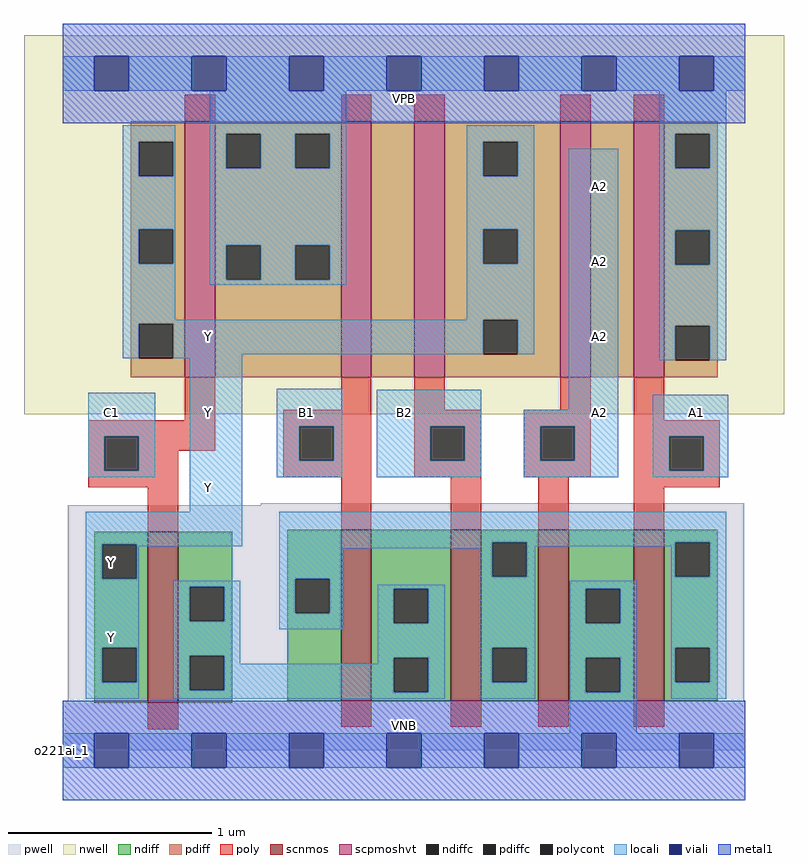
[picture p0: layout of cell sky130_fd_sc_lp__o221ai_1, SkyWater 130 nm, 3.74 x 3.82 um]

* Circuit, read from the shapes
.subckt sky130_fd_sc_lp__o221ai_1 A1 A2 B1 B2 C1 VGND VNB VPB VPWR Y
XM1 n1 C1 Y VNB sky130_fd_pr__nfet_01v8 w=0.84 l=0.15
XM2 n1 B1 n2 VNB sky130_fd_pr__nfet_01v8 w=0.84 l=0.15
XM3 n2 B2 n1 VNB sky130_fd_pr__nfet_01v8 w=0.84 l=0.15
XM4 VGND A2 n2 VNB sky130_fd_pr__nfet_01v8 w=0.84 l=0.15
XM5 n2 A1 VGND VNB sky130_fd_pr__nfet_01v8 w=0.84 l=0.15
XM6 VPWR C1 Y VPB sky130_fd_pr__pfet_01v8_hvt w=1.26 l=0.15
XM7 n3 B1 VPWR VPB sky130_fd_pr__pfet_01v8_hvt w=1.26 l=0.15
XM8 Y B2 n3 VPB sky130_fd_pr__pfet_01v8_hvt w=1.26 l=0.15
XM9 n4 A2 Y VPB sky130_fd_pr__pfet_01v8_hvt w=1.26 l=0.15
XM10 VPWR A1 n4 VPB sky130_fd_pr__pfet_01v8_hvt w=1.26 l=0.15
.ends

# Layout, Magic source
magic
tech sky130A
magscale 1 2
<< nwell >>
rect -38 331 710 704
<< pwell >>
rect 195 241 671 243
rect 5 49 671 241
rect 0 0 672 49
<< scnmos >>
rect 84 47 114 215
rect 274 49 304 217
rect 382 49 412 217
rect 468 49 498 217
rect 562 49 592 217
<< scpmoshvt >>
rect 120 367 150 619
rect 274 367 304 619
rect 346 367 376 619
rect 490 367 520 619
rect 562 367 592 619
<< ndiff >>
rect 31 203 84 215
rect 31 169 39 203
rect 73 169 84 203
rect 31 101 84 169
rect 31 67 39 101
rect 73 67 84 101
rect 31 47 84 67
rect 114 161 167 215
rect 114 127 125 161
rect 159 127 167 161
rect 114 93 167 127
rect 114 59 125 93
rect 159 59 167 93
rect 114 47 167 59
rect 221 169 274 217
rect 221 135 229 169
rect 263 135 274 169
rect 221 49 274 135
rect 304 159 382 217
rect 304 125 326 159
rect 360 125 382 159
rect 304 91 382 125
rect 304 57 326 91
rect 360 57 382 91
rect 304 49 382 57
rect 412 205 468 217
rect 412 171 423 205
rect 457 171 468 205
rect 412 101 468 171
rect 412 67 423 101
rect 457 67 468 101
rect 412 49 468 67
rect 498 159 562 217
rect 498 125 515 159
rect 549 125 562 159
rect 498 91 562 125
rect 498 57 515 91
rect 549 57 562 91
rect 498 49 562 57
rect 592 205 645 217
rect 592 171 603 205
rect 637 171 645 205
rect 592 101 645 171
rect 592 67 603 101
rect 637 67 645 101
rect 592 49 645 67
<< pdiff >>
rect 67 599 120 619
rect 67 565 75 599
rect 109 565 120 599
rect 67 513 120 565
rect 67 479 75 513
rect 109 479 120 513
rect 67 420 120 479
rect 67 386 75 420
rect 109 386 120 420
rect 67 367 120 386
rect 150 607 274 619
rect 150 573 161 607
rect 195 573 229 607
rect 263 573 274 607
rect 150 497 274 573
rect 150 463 161 497
rect 195 463 229 497
rect 263 463 274 497
rect 150 367 274 463
rect 304 367 346 619
rect 376 599 490 619
rect 376 565 414 599
rect 448 565 490 599
rect 376 513 490 565
rect 376 479 414 513
rect 448 479 490 513
rect 376 424 490 479
rect 376 390 414 424
rect 448 390 490 424
rect 376 367 490 390
rect 520 367 562 619
rect 592 607 645 619
rect 592 573 603 607
rect 637 573 645 607
rect 592 512 645 573
rect 592 478 603 512
rect 637 478 645 512
rect 592 418 645 478
rect 592 384 603 418
rect 637 384 645 418
rect 592 367 645 384
<< ndiffc >>
rect 39 169 73 203
rect 39 67 73 101
rect 125 127 159 161
rect 125 59 159 93
rect 229 135 263 169
rect 326 125 360 159
rect 326 57 360 91
rect 423 171 457 205
rect 423 67 457 101
rect 515 125 549 159
rect 515 57 549 91
rect 603 171 637 205
rect 603 67 637 101
<< pdiffc >>
rect 75 565 109 599
rect 75 479 109 513
rect 75 386 109 420
rect 161 573 195 607
rect 229 573 263 607
rect 161 463 195 497
rect 229 463 263 497
rect 414 565 448 599
rect 414 479 448 513
rect 414 390 448 424
rect 603 573 637 607
rect 603 478 637 512
rect 603 384 637 418
<< poly >>
rect 120 619 150 645
rect 274 619 304 645
rect 346 619 376 645
rect 490 619 520 645
rect 562 619 592 645
rect 120 325 150 367
rect 274 335 304 367
rect 25 309 150 325
rect 25 275 41 309
rect 75 295 150 309
rect 217 319 304 335
rect 75 275 114 295
rect 25 259 114 275
rect 217 285 233 319
rect 267 285 304 319
rect 217 269 304 285
rect 346 335 376 367
rect 490 335 520 367
rect 346 319 412 335
rect 346 285 362 319
rect 396 285 412 319
rect 346 269 412 285
rect 454 319 520 335
rect 454 285 470 319
rect 504 285 520 319
rect 454 269 520 285
rect 562 325 592 367
rect 562 309 647 325
rect 562 275 597 309
rect 631 275 647 309
rect 84 215 114 259
rect 274 217 304 269
rect 382 217 412 269
rect 468 217 498 269
rect 562 259 647 275
rect 562 217 592 259
rect 84 21 114 47
rect 274 23 304 49
rect 382 23 412 49
rect 468 23 498 49
rect 562 23 592 49
<< polycont >>
rect 41 275 75 309
rect 233 285 267 319
rect 362 285 396 319
rect 470 285 504 319
rect 597 275 631 309
<< locali >>
rect 0 649 31 683
rect 65 649 127 683
rect 161 649 223 683
rect 257 649 319 683
rect 353 649 415 683
rect 449 649 511 683
rect 545 649 607 683
rect 641 649 672 683
rect 59 599 111 615
rect 59 565 75 599
rect 109 565 111 599
rect 59 513 111 565
rect 59 479 75 513
rect 109 479 111 513
rect 59 424 111 479
rect 145 607 279 649
rect 145 573 161 607
rect 195 573 229 607
rect 263 573 279 607
rect 145 497 279 573
rect 145 463 161 497
rect 195 463 229 497
rect 263 463 279 497
rect 145 458 279 463
rect 398 599 464 615
rect 398 565 414 599
rect 448 565 464 599
rect 587 607 653 649
rect 398 513 464 565
rect 398 479 414 513
rect 448 479 464 513
rect 398 424 464 479
rect 59 420 414 424
rect 59 386 75 420
rect 109 390 414 420
rect 448 390 464 424
rect 109 386 177 390
rect 25 309 91 352
rect 25 275 41 309
rect 75 275 91 309
rect 25 269 91 275
rect 125 235 177 386
rect 211 319 275 356
rect 211 285 233 319
rect 267 285 275 319
rect 211 269 275 285
rect 309 319 412 355
rect 498 335 547 592
rect 587 573 603 607
rect 637 573 653 607
rect 587 512 653 573
rect 587 478 603 512
rect 637 478 653 512
rect 587 418 653 478
rect 587 384 603 418
rect 637 384 653 418
rect 309 285 362 319
rect 396 285 412 319
rect 309 269 412 285
rect 454 319 547 335
rect 454 285 470 319
rect 504 285 547 319
rect 454 269 547 285
rect 581 309 655 350
rect 581 275 597 309
rect 631 275 655 309
rect 581 269 655 275
rect 23 203 177 235
rect 23 169 39 203
rect 73 201 177 203
rect 213 205 653 235
rect 73 169 75 201
rect 23 101 75 169
rect 213 199 423 205
rect 213 169 276 199
rect 23 67 39 101
rect 73 67 75 101
rect 23 51 75 67
rect 109 161 175 167
rect 109 127 125 161
rect 159 127 175 161
rect 109 93 175 127
rect 213 135 229 169
rect 263 135 276 169
rect 410 171 423 199
rect 457 201 603 205
rect 457 171 465 201
rect 213 119 276 135
rect 310 159 376 163
rect 310 125 326 159
rect 360 125 376 159
rect 109 59 125 93
rect 159 85 175 93
rect 310 91 376 125
rect 310 85 326 91
rect 159 59 326 85
rect 109 57 326 59
rect 360 57 376 91
rect 109 51 376 57
rect 410 101 465 171
rect 599 171 603 201
rect 637 171 653 205
rect 410 67 423 101
rect 457 67 465 101
rect 410 51 465 67
rect 499 159 565 167
rect 499 125 515 159
rect 549 125 565 159
rect 499 91 565 125
rect 499 57 515 91
rect 549 57 565 91
rect 499 17 565 57
rect 599 101 653 171
rect 599 67 603 101
rect 637 67 653 101
rect 599 51 653 67
rect 0 -17 31 17
rect 65 -17 127 17
rect 161 -17 223 17
rect 257 -17 319 17
rect 353 -17 415 17
rect 449 -17 511 17
rect 545 -17 607 17
rect 641 -17 672 17
<< viali >>
rect 31 649 65 683
rect 127 649 161 683
rect 223 649 257 683
rect 319 649 353 683
rect 415 649 449 683
rect 511 649 545 683
rect 607 649 641 683
rect 31 -17 65 17
rect 127 -17 161 17
rect 223 -17 257 17
rect 319 -17 353 17
rect 415 -17 449 17
rect 511 -17 545 17
rect 607 -17 641 17
<< metal1 >>
rect 0 683 672 715
rect 0 649 31 683
rect 65 649 127 683
rect 161 649 223 683
rect 257 649 319 683
rect 353 649 415 683
rect 449 649 511 683
rect 545 649 607 683
rect 641 649 672 683
rect 0 617 672 649
rect 0 17 672 49
rect 0 -17 31 17
rect 65 -17 127 17
rect 161 -17 223 17
rect 257 -17 319 17
rect 353 -17 415 17
rect 449 -17 511 17
rect 545 -17 607 17
rect 641 -17 672 17
rect 0 -49 672 -17
<< labels >>
flabel pwell s 0 0 672 49 0 FreeSans 200 0 0 0 VNB
port 7 nsew ground bidirectional
flabel nwell s 0 617 672 666 0 FreeSans 200 0 0 0 VPB
port 8 nsew power bidirectional
rlabel comment s 0 0 0 0 4 o221ai_1
flabel metal1 s 0 617 672 666 0 FreeSans 340 0 0 0 VPWR
port 9 nsew power bidirectional
flabel metal1 s 0 0 672 49 0 FreeSans 340 0 0 0 VGND
port 6 nsew ground bidirectional
flabel locali s 511 316 545 350 0 FreeSans 340 0 0 0 A2
port 2 nsew signal input
flabel locali s 511 390 545 424 0 FreeSans 340 0 0 0 A2
port 2 nsew signal input
flabel locali s 511 464 545 498 0 FreeSans 340 0 0 0 A2
port 2 nsew signal input
flabel locali s 511 538 545 572 0 FreeSans 340 0 0 0 A2
port 2 nsew signal input
flabel locali s 319 316 353 350 0 FreeSans 340 0 0 0 B2
port 4 nsew signal input
flabel locali s 31 316 65 350 0 FreeSans 340 0 0 0 C1
port 5 nsew signal input
flabel locali s 607 316 641 350 0 FreeSans 340 0 0 0 A1
port 1 nsew signal input
flabel locali s 127 242 161 276 0 FreeSans 340 0 0 0 Y
port 10 nsew signal output
flabel locali s 127 316 161 350 0 FreeSans 340 0 0 0 Y
port 10 nsew signal output
flabel locali s 127 390 161 424 0 FreeSans 340 0 0 0 Y
port 10 nsew signal output
flabel locali s 223 316 257 350 0 FreeSans 340 0 0 0 B1
port 3 nsew signal input
flabel locali s 31 94 65 128 0 FreeSans 340 0 0 0 Y
port 10 nsew signal output
flabel locali s 31 168 65 202 0 FreeSans 340 0 0 0 Y
port 10 nsew signal output
<< properties >>
string LEFsite unit
string LEFclass CORE
string FIXED_BBOX 0 0 672 666
string GDS_FILE $PDKPATH/libs.ref/sky130_fd_sc_lp/gds/sky130_fd_sc_lp.gds
string LEFsymmetry X Y R90
string GDS_END 5840662
string GDS_START 5833282
<< end >>
